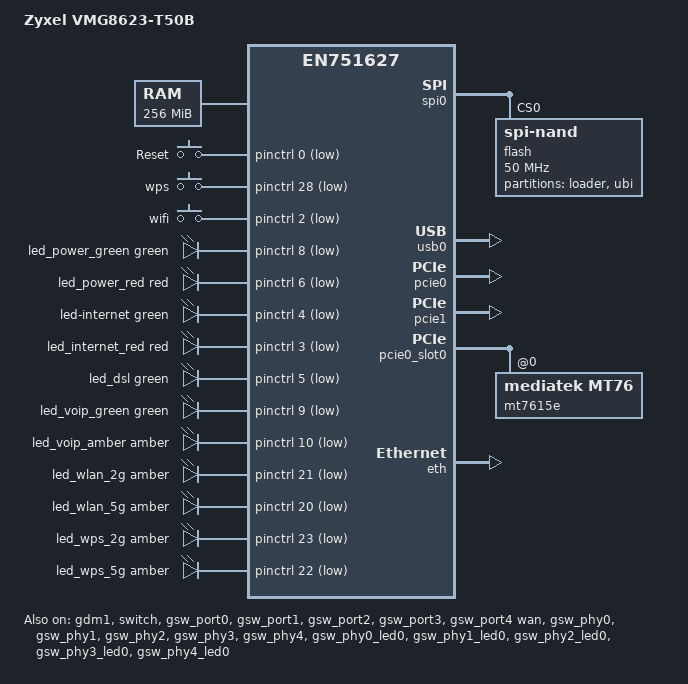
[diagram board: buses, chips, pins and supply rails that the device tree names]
// SPDX-License-Identifier: (GPL-2.0-only OR BSD-2-Clause)
/dts-v1/;

#include "en751627.dtsi"

/ {
	model = "Zyxel VMG8623-T50B";
	compatible = "zyxel,vmg8623-t50b", "econet,en751627";

	memory@0 {
		device_type = "memory";
		reg = <0x00000000 0x10000000>;
	};

	chosen {
		rootdisk = <&firmware>;
		stdout-path = "/serial@1fbf0000:115200";
		bootargs = "console=ttyS0,115200 earlycon ubi.block=0,fit root=/dev/fit0 rootwait";
	};

	aliases {
		led-boot = &led_power_green;
		led-failsafe = &led_power_red;
		led-upgrade = &led_power_red;
		led-running = &led_power_green;
	};

	/* Needs check, extracted from leds.conf */
	keys {
		compatible = "gpio-keys";

		key-reset {
			label = "Reset";
			gpios = <&pinctrl 0 GPIO_ACTIVE_LOW>;
			linux,code = <KEY_RESTART>;
			debounce-interval = <60>;
		};

		wps {
			label = "wps";
			gpios = <&pinctrl 28 GPIO_ACTIVE_LOW>;
			linux,code = <KEY_WPS_BUTTON>;
			debounce-interval = <60>;
		};

		key-wlan {
			label = "wifi";
			gpios = <&pinctrl 2 GPIO_ACTIVE_LOW>;
			linux,code = <KEY_RFKILL>;
			debounce-interval = <60>;
		};
	};

	/* Needs sync with others dts files */
	leds {
		compatible = "gpio-leds";

		led_power_green: led-power-green {
			color = <LED_COLOR_ID_GREEN>;
			function = LED_FUNCTION_STATUS;
			function-enumerator = <8>;
			gpios = <&pinctrl 8 GPIO_ACTIVE_LOW>;
		};

		led_power_red: led-power-red {
			color = <LED_COLOR_ID_RED>;
			function = LED_FUNCTION_STATUS;
			function-enumerator = <6>;
			gpios = <&pinctrl 6 GPIO_ACTIVE_LOW>;
		};

		led-internet {
			color = <LED_COLOR_ID_GREEN>;
			function = LED_FUNCTION_WAN_ONLINE;
			function-enumerator = <4>;
			gpios = <&pinctrl 4 GPIO_ACTIVE_LOW>;
		};

		led_internet_red: led-internet-red {
			color = <LED_COLOR_ID_RED>;
			function = LED_FUNCTION_WAN_ONLINE;
			function-enumerator = <3>;
			gpios = <&pinctrl 3 GPIO_ACTIVE_LOW>;
		};

		led_dsl: led-dsl {
			color = <LED_COLOR_ID_GREEN>;
			function = LED_FUNCTION_STATUS;
			function-enumerator = <5>;
			gpios = <&pinctrl 5 GPIO_ACTIVE_LOW>;
		};

		led_voip_green: led-voip-green {
			color = <LED_COLOR_ID_GREEN>;
			function = LED_FUNCTION_STATUS;
			function-enumerator = <9>;
			gpios = <&pinctrl 9 GPIO_ACTIVE_LOW>;
		};

		led_voip_amber: led-voip-amber {
			color = <LED_COLOR_ID_AMBER>;
			function = LED_FUNCTION_STATUS;
			function-enumerator = <10>;
			gpios = <&pinctrl 10 GPIO_ACTIVE_LOW>;
		};

		led_wlan_2g: led-wlan-2g {
			color = <LED_COLOR_ID_AMBER>;
			function = LED_FUNCTION_STATUS;
			function-enumerator = <21>;
			gpios = <&pinctrl 21 GPIO_ACTIVE_LOW>;
		};

		led_wlan_5g: led-wlan-5g {
			color = <LED_COLOR_ID_AMBER>;
			function = LED_FUNCTION_STATUS;
			function-enumerator = <20>;
			gpios = <&pinctrl 20 GPIO_ACTIVE_LOW>;
		};

		led_wps_2g: led-wps-2g {
			color = <LED_COLOR_ID_AMBER>;
			function = LED_FUNCTION_STATUS;
			function-enumerator = <23>;
			gpios = <&pinctrl 23 GPIO_ACTIVE_LOW>;
		};

		led_wps_5g: led-wps-5g {
			color = <LED_COLOR_ID_AMBER>;
			function = LED_FUNCTION_STATUS;
			function-enumerator = <22>;
			gpios = <&pinctrl 22 GPIO_ACTIVE_LOW>;
		};

		// led_lan: led-lan {
		// 	color = <LED_COLOR_ID_GREEN>;
		// 	function = LED_FUNCTION_STATUS;
		// 	function-enumerator = <0>;
		// 	gpios = <&pinctrl 38 GPIO_ACTIVE_HIGH>;
		// };

		// led_wan: led-wan {
		// 	color = <LED_COLOR_ID_GREEN>;
		// 	function = LED_FUNCTION_STATUS;
		// 	function-enumerator = <0>;
		// 	gpios = <&pinctrl 39 GPIO_ACTIVE_HIGH>;
		// };
	};

	// <&pinctrl 24> USB overcurrent flag
	// <&pinctrl 25> USB overcurrent enable
	// usb_vbus_regulator: regulator-usb-vbus {
	// 	compatible = "regulator-fixed";
	// 	regulator-name = "usb_vbus";
	// 	regulator-min-microvolt = <5000000>;
	// 	regulator-max-microvolt = <5000000>;
	// 	gpios = <&pinctrl 24 GPIO_ACTIVE_LOW>, <&pinctrl 25 GPIO_ACTIVE_LOW>;
	// 	regulator-boot-on;
	// };
};

/*
0x00000000-0x00040000 : "bootloader" (mac: 0x0000FF48, serial: 0x0000FFAF, wifi pass: 0x0000FFE0)
0x00040000-0x00080000 : "romfile"
0x00080000-0x02880000 : "tclinux"
0x02880000-0x04f20000 : "tclinux_slave"
0x04f20000-0x05020000 : "wwan"
0x05020000-0x05420000 : "data"
0x05420000-0x05520000 : "rom-d"
0x05520000-0x07520000 : "misc"
0x07520000-0x075e0000 : "reservearea" => art (0xC0000)

U-Boot> setexpr
setexpr - set environment variable as the result of eval expression

Usage:
setexpr [.b, .w, .l, .s] name [*]value1 <op> [*]value2
    - set environment variable 'name' to the result of the evaluated
      expression specified by <op>.  <op> can be &, |, ^, +, -, *, /, %
      (for strings only + is supported)
      size argument is only meaningful if value1 and/or value2 are
      memory addresses (*)
setexpr[.b, .w, .l] name [*]value
    - load a value into a variable
setexpr name gsub r s [t]
    - For each substring matching the regular expression <r> in the
      string <t>, substitute the string <s>.  The result is
      assigned to <name>.  If <t> is not supplied, use the old
      value of <name>. If no substring matching <r> is found in <t>,
      assign <t> to <name>.
setexpr name sub r s [t]
    - Just like gsub(), but replace only the first matching substring
U-Boot> mtd read spi-nand0 ${loadaddr} 0x0000F800 0x800
Reading 2048 byte(s) (1 page(s)) at offset 0x0000f800
U-Boot> setexpr addr ${loadaddr} + 0x748
U-Boot> md.b ${addr} 8
89400748: 48 ed e6 42 98 10 05 00                          H..B....
U-Boot> md.b ${addr} 6
89400748: 48 ed e6 42 98 10                                H..B..
U-Boot>
*/
&spi0 {
	flash@0 {
		compatible = "spi-nand";
		reg = <0>;
		spi-max-frequency = <50000000>;
		spi-tx-bus-width = <1>;
		spi-rx-bus-width = <2>;

		partitions {
			compatible = "fixed-partitions";
			#address-cells = <1>;
			#size-cells = <1>;

			partition@0 {
				label = "loader";
				reg = <0x000000 0x100000>;
				read-only;
			};

			partition@100000 {
				label = "ubi";
				compatible = "linux,ubi";
				reg = <0x100000 0x000000>;

				volumes {
					ubi-volume-ubootenv {
						volname = "ubootenv";
						nvmem-layout {
							compatible = "u-boot,env-redundant-bool";
							env-size = <0x4000>;
						};
					};
	
					ubi-volume-ubootenv2 {
						volname = "ubootenv2";
						nvmem-layout {
							compatible = "u-boot,env-redundant-bool";
							env-size = <0x4000>;
	
							macaddr: ethaddr {
								#nvmem-cell-cells = <1>;
							};
						};
					};
				
					ubi-volume-reserver {
						volname = "art";
						read-only;

						nvmem-layout {
							compatible = "fixed-layout";
							#address-cells = <1>;
							#size-cells = <1>;

							eeprom: eeprom@20000 {
								reg = <0x20000 0x400>;
							};

							precal_data: precal@21000 {
								reg = <0x21000 0x9000>;
							};
						};
					};
					
					firmware: ubi-volume-firmware {
						volname = "fit";
						compatible = "denx,uimage";
					};
				};
			};
		};
	};
};

&usb0 {
	status = "okay";
};

&pcie0 {
	status = "okay";
};

&pcie1 {
	status = "okay";
};

&pcie0_slot0 {
	mt7615e@0,0 {
		compatible = "mediatek,mt76";
		reg = <0x0000 0 0 0 0>;
		#address-cells = <1>;
		#size-cells = <0>;
		nvmem-cells = <&eeprom>, <&precal_data>;
		nvmem-cell-names = "eeprom", "precal";

		// 2.4 GHz
		band@0 {
			reg = <0>;
			nvmem-cells = <&macaddr 0>;
			nvmem-cell-names = "mac-address";
		};

		// 5 GHz
		band@1 {
			reg = <1>;
			nvmem-cells = <&macaddr 2>;
			nvmem-cell-names = "mac-address";
		};
	};
};

&eth {
	status = "okay";
};

&gdm1 {
	status = "okay";

	nvmem-cells = <&macaddr 0>;
	nvmem-cell-names = "mac-address";
};

&xdsl {
	// status = "okay";

	nvmem-cells = <&macaddr 0>;
	nvmem-cell-names = "mac-address";
};

&switch {
	status = "okay";
};

&gsw_port0 {
	status = "okay";
};

&gsw_port1 {
	status = "okay";
};

&gsw_port2 {
	status = "okay";
};

&gsw_port3 {
	status = "okay";
};

&gsw_port4 {
	status = "okay";

	label = "wan";
};

&gsw_phy0 {
	status = "okay";
};

&gsw_phy1 {
	status = "okay";
};

&gsw_phy2 {
	status = "okay";
};

&gsw_phy3 {
	status = "okay";
};

&gsw_phy4 {
	status = "okay";
};

&gsw_phy0_led0 {
	status = "okay";
	pinctrl-0 = <&swp1_led0>;
	color = <LED_COLOR_ID_GREEN>;
	function = LED_FUNCTION_LAN;
};

&gsw_phy1_led0 {
	status = "okay";
	pinctrl-0 = <&swp2_led0>;
	color = <LED_COLOR_ID_GREEN>;
	function = LED_FUNCTION_LAN;
};

&gsw_phy2_led0 {
	status = "okay";
	pinctrl-0 = <&swp3_led0>;
	color = <LED_COLOR_ID_GREEN>;
	function = LED_FUNCTION_LAN;
};

&gsw_phy3_led0 {
	status = "okay";
	pinctrl-0 = <&swp4_led0>;
	color = <LED_COLOR_ID_GREEN>;
	function = LED_FUNCTION_LAN;
};

&gsw_phy4_led0 {
	status = "okay";
	pinctrl-0 = <&swp5_led0>;
	color = <LED_COLOR_ID_GREEN>;
	function = LED_FUNCTION_WAN;
};
